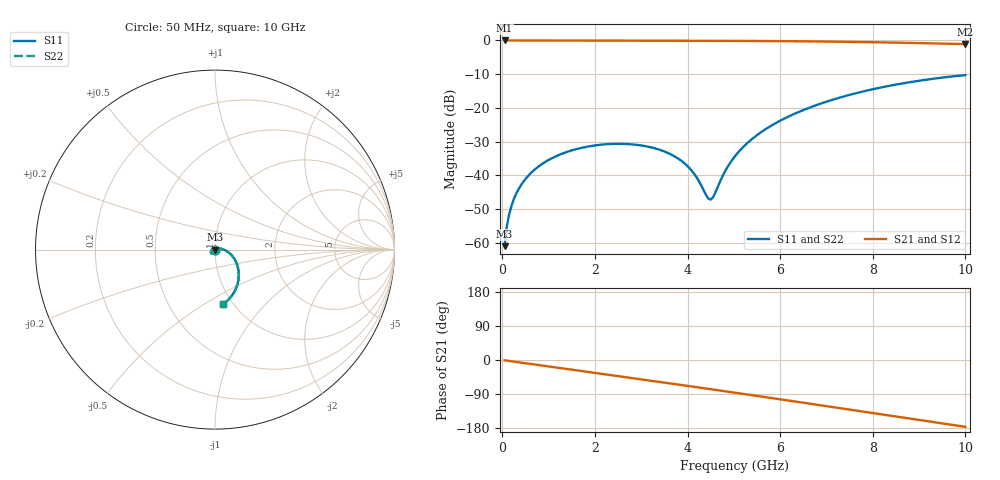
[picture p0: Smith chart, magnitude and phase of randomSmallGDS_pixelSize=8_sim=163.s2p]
! freq	dB(S11)	phase(S11)	dB(S12)	phase(S12)
!  dB(S21)	phase(S21)	dB(S22)	phase(S22)
!S-par simulation data
#  GHz  S  DB  R 50
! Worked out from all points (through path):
!   200 points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, 50 MHz to 10 GHz, reference 50 ohm
!   highest |S21| = 0.00 dB at 50 MHz (marker M1); lowest = -1.1 dB at 10 GHz (marker M2)
!   group delay of S21, straight-line fit = 49.1 ps
!   lowest |S11| = -61.0 dB at 50 MHz (marker M3), VSWR 1.00, Z = 50 - j0.0887 ohm
!   |S11| at or under -10 dB: start of sweep to end of sweep
!   |S22| runs from -61.0 to -10.3 dB; largest |S21 - S12| = 0
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0.05  -61.04 -89.3  -0.00 -0.9  -0.00 -0.9  -61.04 -89.3
0.1  -55.02 -91.1  -0.00 -1.7  -0.00 -1.7  -55.02 -91.1
0.2  -49.00 -93.5  -0.00 -3.4  -0.00 -3.4  -49.00 -93.5
0.35  -44.16 -96.5  -0.00 -6.0  -0.00 -6.0  -44.16 -96.5
0.5  -41.12 -99.3  -0.01 -8.6  -0.01 -8.6  -41.12 -99.3
1  -35.46 -108.4  -0.02 -17.0  -0.02 -17.0  -35.46 -108.4
1.75  -31.75 -122.1  -0.04 -29.8  -0.04 -29.8  -31.75 -122.0
2.6  -30.68 -137.9  -0.05 -44.2  -0.05 -44.2  -30.68 -137.8
3.4  -32.45 -154.5  -0.07 -57.9  -0.07 -57.9  -32.45 -154.3
3.75  -34.63 -163.7  -0.08 -64.0  -0.08 -64.0  -34.64 -163.5
4  -37.29 -173.1  -0.09 -68.3  -0.09 -68.3  -37.31 -172.8
4.2  -40.71 173.8  -0.09 -71.8  -0.09 -71.8  -40.74 174.4
4.45  -46.92 122.6  -0.10 -76.2  -0.10 -76.2  -47.12 123.1
4.5  -47.22 102.4  -0.10 -77.0  -0.10 -77.0  -47.45 102.5
4.55  -46.54 82.5  -0.10 -77.9  -0.10 -77.9  -46.74 82.1
4.85  -37.86 29.5  -0.12 -83.2  -0.12 -83.2  -37.90 29.0
5.05  -33.92 18.7  -0.13 -86.7  -0.13 -86.7  -33.94 18.3
5.7  -26.20 -0.2  -0.17 -98.3  -0.17 -98.3  -26.20 -0.5
6.7  -19.59 -21.0  -0.28 -116.3  -0.28 -116.3  -19.60 -21.1
8.35  -13.48 -51.8  -0.60 -146.5  -0.60 -146.5  -13.48 -51.9
9.15  -11.65 -66.3  -0.82 -161.0  -0.82 -161.0  -11.65 -66.3
10  -10.29 -81.2  -1.08 -176.3  -1.08 -176.3  -10.29 -81.2
